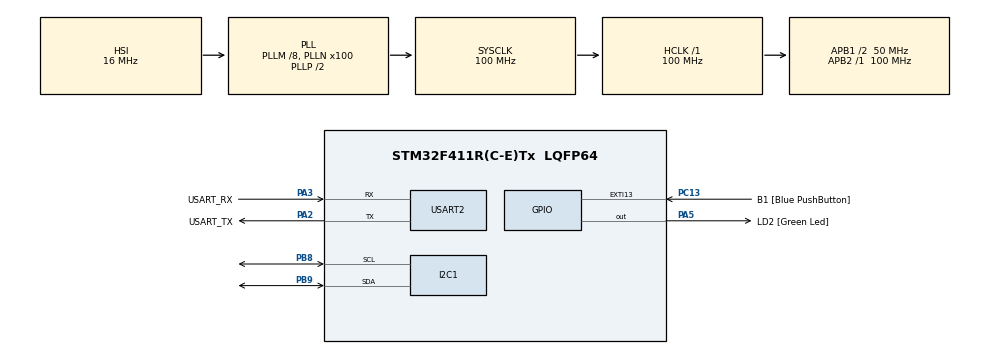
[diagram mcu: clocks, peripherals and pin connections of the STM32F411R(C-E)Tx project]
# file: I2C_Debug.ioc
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Mcu.Family=STM32F4
Mcu.Name=STM32F411R(C-E)Tx
Mcu.Package=LQFP64
NVIC.PriorityGroup=NVIC_PRIORITYGROUP_0
PA13.GPIO_Label=TMS
PA13.Mode=Serial_Wire
PA13.Signal=SYS_JTMS-SWDIO
PA14.GPIO_Label=TCK
PA14.Mode=Serial_Wire
PA14.Signal=SYS_JTCK-SWCLK
PA2.GPIO_Label=USART_TX
PA2.Mode=Asynchronous
PA2.Signal=USART2_TX
PA3.GPIO_Label=USART_RX
PA3.Mode=Asynchronous
PA3.Signal=USART2_RX
PA5.GPIO_Label=LD2 [Green Led]
PA5.Signal=GPIO_Output
PB3.GPIO_Label=SWO
PB3.Signal=SYS_JTDO-SWO
PB8.Mode=I2C
PB8.Signal=I2C1_SCL
PB9.Mode=I2C
PB9.Signal=I2C1_SDA
PC13-ANTI_TAMP.GPIO_Label=B1 [Blue PushButton]
PC13-ANTI_TAMP.GPIO_ModeDefaultEXTI=GPIO_MODE_IT_FALLING
PC13-ANTI_TAMP.Signal=GPXTI13
PC14-OSC32_IN.Mode=LSE-External-Oscillator
PC14-OSC32_IN.Signal=RCC_OSC32_IN
PC15-OSC32_OUT.Mode=LSE-External-Oscillator
PC15-OSC32_OUT.Signal=RCC_OSC32_OUT
PH0\ -\ OSC_IN.Mode=HSE-External-Clock-Source
PH0\ -\ OSC_IN.Signal=RCC_OSC_IN
PH1\ -\ OSC_OUT.Mode=HSE-External-Clock-Source
PH1\ -\ OSC_OUT.Signal=RCC_OSC_OUT
ProjectManager.HeapSize=0x200
ProjectManager.StackSize=0x400
ProjectManager.TargetToolchain=STM32CubeIDE
RCC.48MHZClocksFreq_Value=50000000
RCC.AHBFreq_Value=100000000
RCC.APB1CLKDivider=RCC_HCLK_DIV2
RCC.APB1Freq_Value=50000000
RCC.APB1TimFreq_Value=100000000
RCC.APB2Freq_Value=100000000
RCC.APB2TimFreq_Value=100000000
RCC.CortexFreq_Value=100000000
RCC.FLatency-AdvancedSettings=FLASH_LATENCY_3
RCC.HCLKFreq_Value=100000000
RCC.HSE_VALUE=8000000
RCC.HSI_VALUE=16000000
RCC.PLLM=8
RCC.PLLN=100
RCC.SYSCLKFreq_VALUE=100000000
RCC.SYSCLKSource=RCC_SYSCLKSOURCE_PLLCLK
RCC.VCOOutputFreq_Value=200000000
USART2.VirtualMode=VM_ASYNC
board=NUCLEO-F411RE

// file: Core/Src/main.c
/* USER CODE BEGIN Header */
/**
  ******************************************************************************
  * @file           : main.c
  * @brief          : Main program body
  ******************************************************************************
  * @attention
  *
  * Copyright (c) 2026 STMicroelectronics.
  * All rights reserved.
  *
  * This software is licensed under terms that can be found in the LICENSE file
  * in the root directory of this software component.
  * If no LICENSE file comes with this software, it is provided AS-IS.
  *
  ******************************************************************************
  */
/* USER CODE END Header */
#include "main.h"
#include "i2c.h"
#include "usart.h"
#include "gpio.h"

/* USER CODE BEGIN Includes */
#include <stdio.h>
#include "Driver_BMP280.h"
#include "float_to_string.h"
#include <string.h>
/* USER CODE END Includes */

/* USER CODE BEGIN PTD */
bmp280_t bmp;
/* USER CODE END PTD */

void SystemClock_Config(void);

/* USER CODE BEGIN 0 */
status_dev BMP280_I2C_Read(uint8_t dev, uint8_t reg, uint8_t *buf, uint16_t len)
{
    if (HAL_I2C_Mem_Read(&hi2c1, dev, reg,
                         I2C_MEMADD_SIZE_8BIT,
                         buf, len, 100) == HAL_OK)
        return STATUS_OK;
    return STATUS_ERR;
}

status_dev BMP280_I2C_Write(uint8_t dev, uint8_t reg, uint8_t *buf, uint16_t len)
{
    if (HAL_I2C_Mem_Write(&hi2c1, dev, reg,
                          I2C_MEMADD_SIZE_8BIT,
                          buf, len, 100) == HAL_OK)
        return STATUS_OK;
    return STATUS_ERR;
}

void BMP280_InitObject(void)
{
    bmp.dev_addr = BMP280_ADDR_LOW;
    bmp.read_reg = BMP280_I2C_Read;
    bmp.write_reg = BMP280_I2C_Write;
    bmp.delay    = HAL_Delay;

    BMP280_Init(&bmp);
}
void SystemClock_Config(void);

int _write(int file, char *ptr, int len)
{
    HAL_UART_Transmit(&huart2, (uint8_t*)ptr, len, HAL_MAX_DELAY);
    return len;
}

void I2C_Scan()
{
    printf("Scanning I2C bus...\r\n");

    for (uint8_t addr = 1; addr < 128; addr++)
    {
        if (HAL_I2C_IsDeviceReady(&hi2c1, addr << 1, 3, 10) == HAL_OK)
        {
            printf("Found device at: 0x%02X\r\n", addr);
        }
    }

    printf("Scan done.\r\n");
}
/* USER CODE END 0 */

int main(void)
{

  /* MCU Configuration--------------------------------------------------------*/

  /* Reset of all peripherals, Initializes the Flash interface and the Systick. */
  HAL_Init();

  /* Configure the system clock */
  SystemClock_Config();

  /* Initialize all configured peripherals */
  MX_GPIO_Init();
  MX_I2C1_Init();
  MX_USART2_UART_Init();
  /* USER CODE BEGIN 2 */
  BMP280_InitObject();
  HAL_Delay(200);

      I2C_Scan();
  /* USER CODE END 2 */

  /* Infinite loop */
  while (1)
  {

    /* USER CODE BEGIN 3 */
	  float t = BMP280_ReadTemperature(&bmp);
	   float p = BMP280_ReadPressure(&bmp);

	   char ts[16], ps[16];
	      float_to_string(ts, t);
	      float_to_string(ps, p);

	      char msg[64];
	      sprintf(msg, "%s,%s\r\n", ts, ps);

	      HAL_UART_Transmit(&huart2, (uint8_t*)msg, strlen(msg), 100);

	      HAL_Delay(5000);
  }
  /* USER CODE END 3 */
}

void SystemClock_Config(void)
{
  RCC_OscInitTypeDef RCC_OscInitStruct = {0};
  RCC_ClkInitTypeDef RCC_ClkInitStruct = {0};

  /** Configure the main internal regulator output voltage
  */
  __HAL_RCC_PWR_CLK_ENABLE();
  __HAL_PWR_VOLTAGESCALING_CONFIG(PWR_REGULATOR_VOLTAGE_SCALE1);

  /** Initializes the RCC Oscillators according to the specified parameters
  * in the RCC_OscInitTypeDef structure.
  */
  RCC_OscInitStruct.OscillatorType = RCC_OSCILLATORTYPE_HSI;
  RCC_OscInitStruct.HSIState = RCC_HSI_ON;
  RCC_OscInitStruct.HSICalibrationValue = RCC_HSICALIBRATION_DEFAULT;
  RCC_OscInitStruct.PLL.PLLState = RCC_PLL_ON;
  RCC_OscInitStruct.PLL.PLLSource = RCC_PLLSOURCE_HSI;
  RCC_OscInitStruct.PLL.PLLM = 8;
  RCC_OscInitStruct.PLL.PLLN = 100;
  RCC_OscInitStruct.PLL.PLLP = RCC_PLLP_DIV2;
  RCC_OscInitStruct.PLL.PLLQ = 4;
  if (HAL_RCC_OscConfig(&RCC_OscInitStruct) != HAL_OK)
  {
    Error_Handler();
  }

  /** Initializes the CPU, AHB and APB buses clocks
  */
  RCC_ClkInitStruct.ClockType = RCC_CLOCKTYPE_HCLK|RCC_CLOCKTYPE_SYSCLK
                              |RCC_CLOCKTYPE_PCLK1|RCC_CLOCKTYPE_PCLK2;
  RCC_ClkInitStruct.SYSCLKSource = RCC_SYSCLKSOURCE_PLLCLK;
  RCC_ClkInitStruct.AHBCLKDivider = RCC_SYSCLK_DIV1;
  RCC_ClkInitStruct.APB1CLKDivider = RCC_HCLK_DIV2;
  RCC_ClkInitStruct.APB2CLKDivider = RCC_HCLK_DIV1;

  if (HAL_RCC_ClockConfig(&RCC_ClkInitStruct, FLASH_LATENCY_3) != HAL_OK)
  {
    Error_Handler();
  }
}

void Error_Handler(void)
{
  __disable_irq();
  while (1)
  {
  }
}
